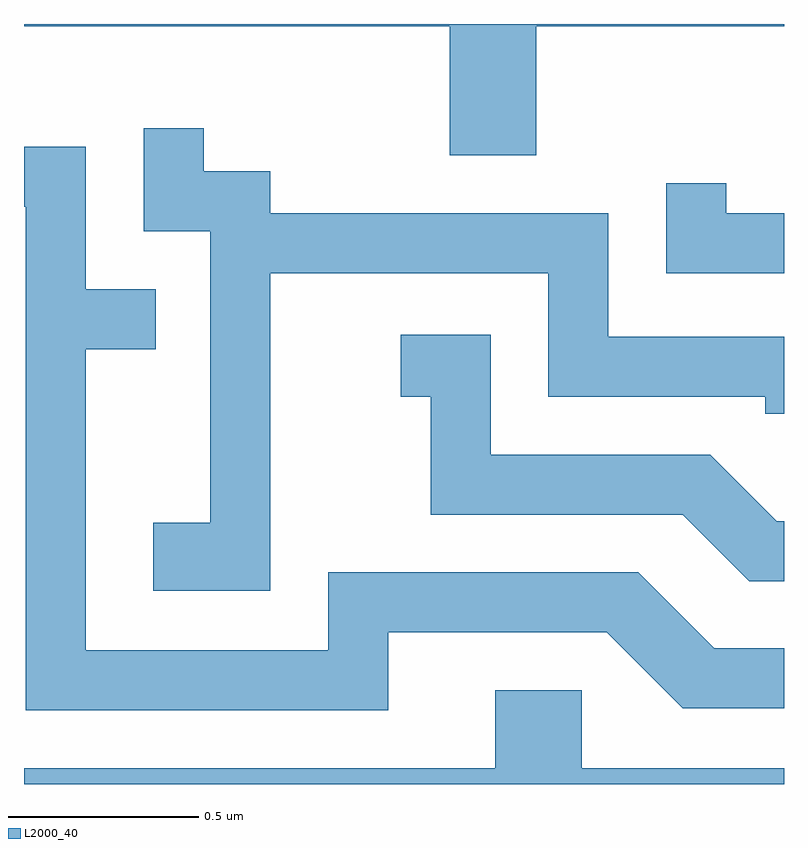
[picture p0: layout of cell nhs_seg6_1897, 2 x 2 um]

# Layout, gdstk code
import gdstk
lib = gdstk.Library(unit=1e-6, precision=1e-09)
def P(c, l, *ps):  # polygons
    for p in ps: c.add(gdstk.Polygon(p, *l))
L2000_40 = (2000, 40)

nhs_seg6_1897 = lib.new_cell('nhs_seg6_1897')
P(nhs_seg6_1897, L2000_40, [(199.959,1652.156),(200.611,1652.156),(200.611,1652.162),(198.611,1652.162),(198.611,1652.156),(199.731,1652.156),(199.731,1651.816),(199.959,1651.816)],
  [(199.259,1651.506),(199.991,1651.506),(199.991,1651.181),(200.561,1651.181),(200.561,1651.136),(200.611,1651.136),(200.611,1651.339),(200.149,1651.339),(200.149,1651.664),(199.259,1651.664),(199.259,1651.774),(199.084,1651.774),(199.084,1651.888),(198.926,1651.888),(198.926,1651.616),(199.101,1651.616),(199.101,1650.849),(198.951,1650.849),(198.951,1650.671),(199.259,1650.671)],
  [(199.569,1650.561),(200.144,1650.561),(200.344,1650.361),(200.611,1650.361),(200.611,1650.519),(200.427,1650.519),(200.227,1650.719),(199.411,1650.719),(199.411,1650.514),(198.774,1650.514),(198.774,1651.306),(198.958,1651.306),(198.958,1651.464),(198.774,1651.464),(198.774,1651.839),(198.611,1651.839),(198.611,1651.681),(198.616,1651.681),(198.616,1650.356),(199.569,1650.356)],
  [(200.611,1651.664),(200.459,1651.664),(200.459,1651.743),(200.301,1651.743),(200.301,1651.506),(200.611,1651.506)],
  [(200.611,1650.854),(200.592,1650.854),(200.417,1651.029),(199.839,1651.029),(199.839,1651.344),(199.603,1651.344),(199.603,1651.181),(199.681,1651.181),(199.681,1650.871),(200.344,1650.871),(200.519,1650.696),(200.611,1650.696)],
  [(200.611,1650.204),(200.079,1650.204),(200.079,1650.409),(199.851,1650.409),(199.851,1650.204),(198.611,1650.204),(198.611,1650.162),(200.611,1650.162)])

lib.write_gds('nhs_seg6_1897.gds')
